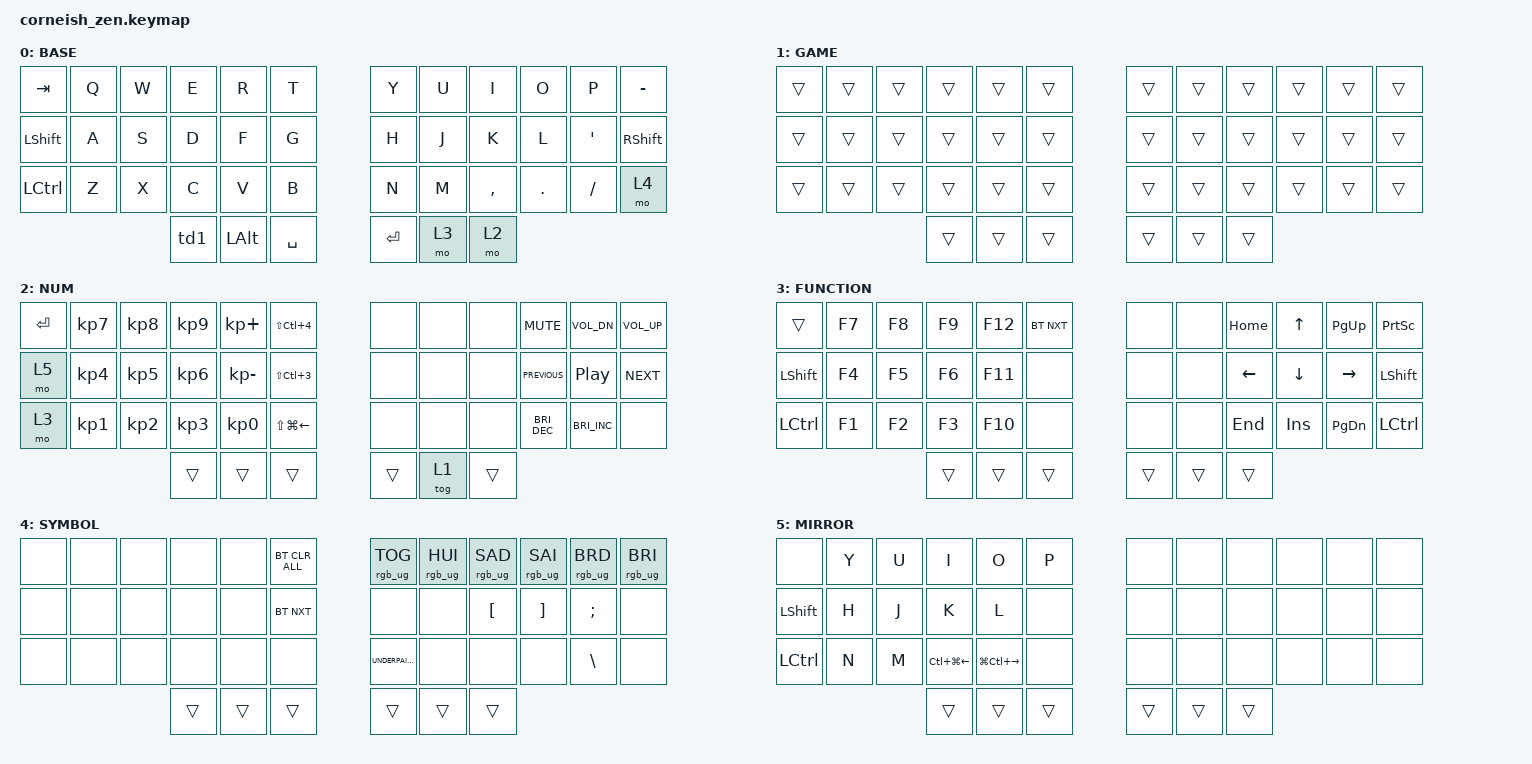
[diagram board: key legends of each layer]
/*
 * Copyright (c) 2020 The ZMK Contributors
 *
 * SPDX-License-Identifier: MIT
 */

#include <behaviors.dtsi>
#include <dt-bindings/zmk/bt.h>
#include <dt-bindings/zmk/keys.h>
#include <dt-bindings/zmk/outputs.h>
#include <dt-bindings/zmk/rgb.h>

/ {
    chosen {
        zmk,matrix_transform = &default_transform;

        // zmk,matrix_transform = &five_column_transform;
    };
};

/ {
    behaviors {
        td0: td0 {
            compatible = "zmk,behavior-tap-dance";
            label = "TD0";
            #binding-cells = <0>;
            bindings = <&kp LEFT_SHIFT>, <&kp CAPSLOCK>;
        };

        td1: td1 {
            compatible = "zmk,behavior-tap-dance";
            label = "TD1";
            #binding-cells = <0>;
            bindings = <&mo 2>, <&kp LEFT_GUI>;
        };
    };

    combos {
        compatible = "zmk,combos";

        bksp {
            bindings = <&kp BACKSPACE>;
            key-positions = <20 21>;
            layers = <0 2 1 3 4 5>;
        };

        esc {
            bindings = <&kp ESCAPE>;
            key-positions = <0 1>;
            layers = <0 2 3 4 5 1>;
        };

        Delete {
            bindings = <&kp DEL>;
            key-positions = <1 2>;
            layers = <0 2 3 4 5>;
        };

        one {
            bindings = <&kp NUMBER_1>;
            key-positions = <13 14>;
            layers = <0 2 3 4 5>;
        };

        two {
            bindings = <&kp NUMBER_2>;
            key-positions = <15 14>;
            layers = <0 2 3 4 5>;
        };

        three {
            bindings = <&kp NUMBER_3>;
            key-positions = <27 26>;
            layers = <0 2 3 4 5>;
        };

        four {
            bindings = <&kp NUMBER_4>;
            key-positions = <26 25>;
            layers = <0 2 3 4 5>;
        };

        five {
            bindings = <&kp N5>;
            key-positions = <27 28>;
            layers = <0 2 3 4 5>;
        };

        six {
            bindings = <&kp NUMBER_6>;
            key-positions = <15 16>;
            layers = <0 2 3 4 5>;
        };

        seven {
            bindings = <&kp N7>;
            key-positions = <15 26>;
            layers = <0 2 3 4 5>;
        };

        eight {
            bindings = <&kp N8>;
            key-positions = <16 27>;
            layers = <0 2 3 4 5>;
        };

        nine {
            bindings = <&kp N9>;
            key-positions = <25 14>;
            layers = <0 2 3 4 5>;
        };

        zero {
            bindings = <&kp N0>;
            key-positions = <14 27>;
            layers = <0 2 3 4 5>;
        };

        tiret {
            bindings = <&kp MINUS>;
            key-positions = <15 28>;
            layers = <0 2 3 4 5>;
        };

        equal {
            bindings = <&kp EQUAL>;
            key-positions = <13 26>;
            layers = <0 2 3 4 5>;
        };

        Pause_Break {
            bindings = <&kp PAUSE_BREAK>;
            key-positions = <16 17>;
        };

        Scroll_Lock {
            bindings = <&kp SCROLLLOCK>;
            key-positions = <5 4>;
        };

        USB_BLE_TG {
            bindings = <&out OUT_TOG>;
            key-positions = <4 17>;
        };
    };

    macros {
        UNDERPAINT: UNDERPAINT {
            compatible = "zmk,behavior-macro";
            #binding-cells = <0>;
            bindings = <&kp LC(F) &kp LC(A) &kp DEL &kp F &kp R &kp O &kp M &kp COLON &kp M &kp E &kp D &kp I &kp Q &kp O &kp L &kp A &kp SPACE &kp H &kp A &kp S &kp COLON &kp I &kp M &kp A &kp G &kp E &kp ENTER>;
            label = "UNDERPAINT";
        };
    };

    keymap {
        compatible = "zmk,keymap";

        base {
            display-name = "BASE";
            bindings = <
&kp TAB         &kp Q  &kp W  &kp E  &kp R         &kp T        &kp Y      &kp U  &kp I      &kp O    &kp P      &kp MINUS
&kp LEFT_SHIFT  &kp A  &kp S  &kp D  &kp F         &kp G        &kp H      &kp J  &kp K      &kp L    &kp APOS   &kp RSHFT
&kp LCTRL       &kp Z  &kp X  &kp C  &kp V         &kp B        &kp N      &kp M  &kp COMMA  &kp DOT  &kp SLASH  &mo 4
                              &td1   &kp LEFT_ALT  &kp SPACE    &kp ENTER  &mo 3  &mo 2
            >;
        };

        gaming {
            bindings = <
&trans  &trans  &trans  &trans  &trans  &trans    &trans  &trans  &trans  &trans  &trans  &trans
&trans  &trans  &trans  &trans  &trans  &trans    &trans  &trans  &trans  &trans  &trans  &trans
&trans  &trans  &trans  &trans  &trans  &trans    &trans  &trans  &trans  &trans  &trans  &trans
                        &trans  &trans  &trans    &trans  &trans  &trans
            >;

            label = "GAME";
        };

        numpad_media {
            display-name = "NUM";
            bindings = <
&kp ENTER  &kp KP_NUMBER_7  &kp KP_NUMBER_8  &kp KP_N9        &kp KP_PLUS   &kp LS(LC(NUMBER_4))    &none   &none   &none   &kp C_MUTE            &kp C_VOL_DN          &kp C_VOLUME_UP
&mo 5      &kp KP_NUMBER_4  &kp KP_NUMBER_5  &kp KP_N6        &kp KP_MINUS  &kp LS(LC(NUMBER_3))    &none   &none   &none   &kp C_PREVIOUS        &kp C_PLAY_PAUSE      &kp C_NEXT
&mo 3      &kp KP_NUMBER_1  &kp KP_NUMBER_2  &kp KP_NUMBER_3  &kp KP_N0     &kp LS(LG(LEFT))        &none   &none   &none   &kp C_BRIGHTNESS_DEC  &kp C_BRIGHTNESS_INC  &none
                                             &trans           &trans        &trans                  &trans  &tog 1  &trans
            >;
        };

        function_nav {
            display-name = "FUNCTION";
            bindings = <
&trans          &kp F7  &kp F8  &kp F9  &kp F12  &bt BT_NXT    &none   &none   &kp HOME        &kp UP_ARROW    &kp PAGE_UP    &kp PRINTSCREEN
&kp LEFT_SHIFT  &kp F4  &kp F5  &kp F6  &kp F11  &none         &none   &none   &kp LEFT_ARROW  &kp DOWN_ARROW  &kp RIGHT      &kp LEFT_SHIFT
&kp LCTRL       &kp F1  &kp F2  &kp F3  &kp F10  &none         &none   &none   &kp END         &kp INSERT      &kp PAGE_DOWN  &kp LCTRL
                                &trans  &trans   &trans        &trans  &trans  &trans
            >;
        };

        symbol {
            bindings = <
&none  &none  &none  &none   &none   &bt BT_CLR_ALL    &rgb_ug RGB_TOG  &rgb_ug RGB_HUI  &rgb_ug RGB_SAD  &rgb_ug RGB_SAI  &rgb_ug RGB_BRD  &rgb_ug RGB_BRI
&none  &none  &none  &none   &none   &bt BT_NXT        &none            &none            &kp LBKT         &kp RBKT         &kp SEMI         &none
&none  &none  &none  &none   &none   &none             &UNDERPAINT      &none            &none            &none            &kp BSLH         &none
                     &trans  &trans  &trans            &trans           &trans           &trans
            >;

            label = "SYMBOL";
        };

        mirror {
            bindings = <
&none           &kp Y  &kp U  &kp I             &kp O              &kp P     &none   &none   &none   &none  &none  &none
&kp LEFT_SHIFT  &kp H  &kp J  &kp K             &kp L              &none     &none   &none   &none   &none  &none  &none
&kp LCTRL       &kp N  &kp M  &kp LC(LG(LEFT))  &kp LG(LC(RIGHT))  &none     &none   &none   &none   &none  &none  &none
                              &trans            &trans             &trans    &trans  &trans  &trans
            >;

            label = "MIRROR";
        };
    };

    conditional_layers { compatible = "zmk,conditional-layers"; };
};
